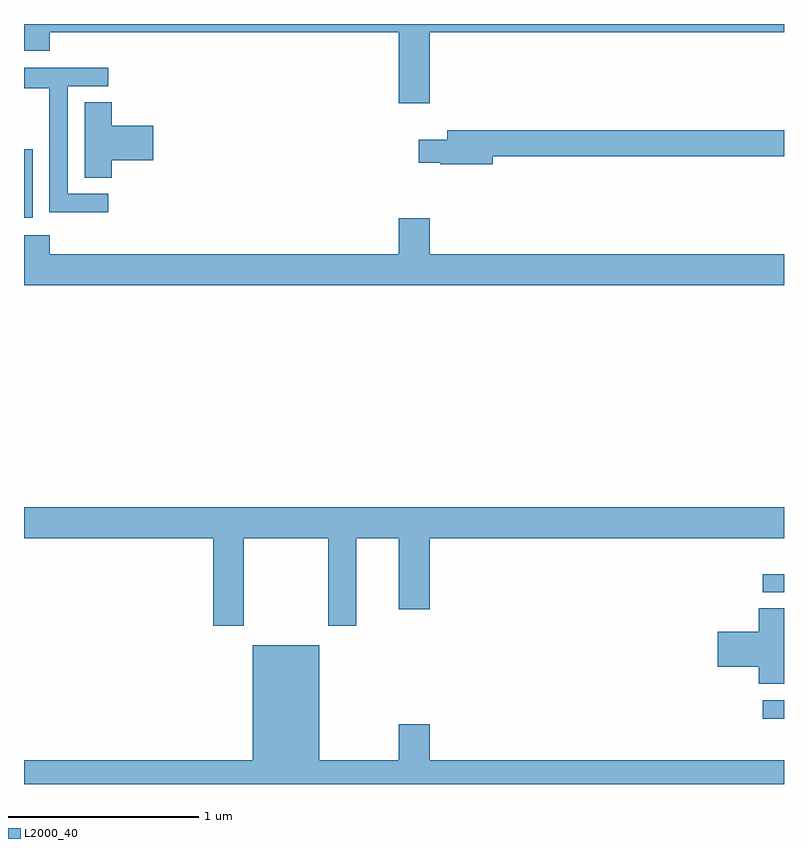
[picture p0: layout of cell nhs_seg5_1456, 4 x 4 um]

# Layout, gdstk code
import gdstk
lib = gdstk.Library(unit=1e-6, precision=1e-09)
def R(c, l, rs):  # rectangles x0, y0, x1, y1
    for r in rs: c.add(gdstk.rectangle(r[:2], r[2:], *l))
def P(c, l, *ps):  # polygons
    for p in ps: c.add(gdstk.Polygon(p, *l))
L2000_40 = (2000, 40)

nhs_seg5_1456 = lib.new_cell('nhs_seg5_1456')
R(nhs_seg5_1456, L2000_40, [(202.887,857.143,203,857.241), (202.887,857.808,203,857.904), (199,859.778,199.045,860.139)])
P(nhs_seg5_1456, L2000_40, [(199,860.657),(199.136,860.657),(199.136,860.756),(200.972,860.756),(200.972,860.382),(201.136,860.382),(201.136,860.756),(203,860.756),(203,860.799),(199,860.799)],
  [(199.444,859.905),(199.23,859.905),(199.23,860.472),(199.444,860.472),(199.444,860.568),(199,860.568),(199,860.46),(199.132,860.46),(199.132,860.236),(199.134,860.236),(199.134,859.807),(199.444,859.807)],
  [(199.463,860.081),(199.681,860.081),(199.681,860.264),(199.463,860.264),(199.463,860.387),(199.319,860.387),(199.319,859.99),(199.463,859.99)],
  [(201.466,860.104),(203,860.104),(203,860.24),(201.227,860.24),(201.227,860.191),(201.078,860.191),(201.078,860.069),(201.19,860.069),(201.19,860.062),(201.466,860.062)],
  [(203,859.588),(201.136,859.588),(201.136,859.777),(200.972,859.777),(200.972,859.588),(199.136,859.588),(199.136,859.687),(199,859.687),(199,859.424),(203,859.424)],
  [(200.157,858.092),(200.602,858.092),(200.602,857.631),(200.749,857.631),(200.749,858.092),(200.972,858.092),(200.972,857.718),(201.136,857.718),(201.136,858.092),(203,858.092),(203,858.256),(199,858.256),(199,858.092),(199.997,858.092),(199.997,857.631),(200.157,857.631)],
  [(203,857.723),(202.868,857.723),(202.868,857.6),(202.65,857.6),(202.65,857.417),(202.868,857.417),(202.868,857.326),(203,857.326)],
  [(203,856.924),(201.136,856.924),(201.136,857.113),(200.972,857.113),(200.972,856.924),(200.554,856.924),(200.554,857.53),(200.204,857.53),(200.204,856.924),(199,856.924),(199,856.799),(203,856.799)])

lib.write_gds('nhs_seg5_1456.gds')
